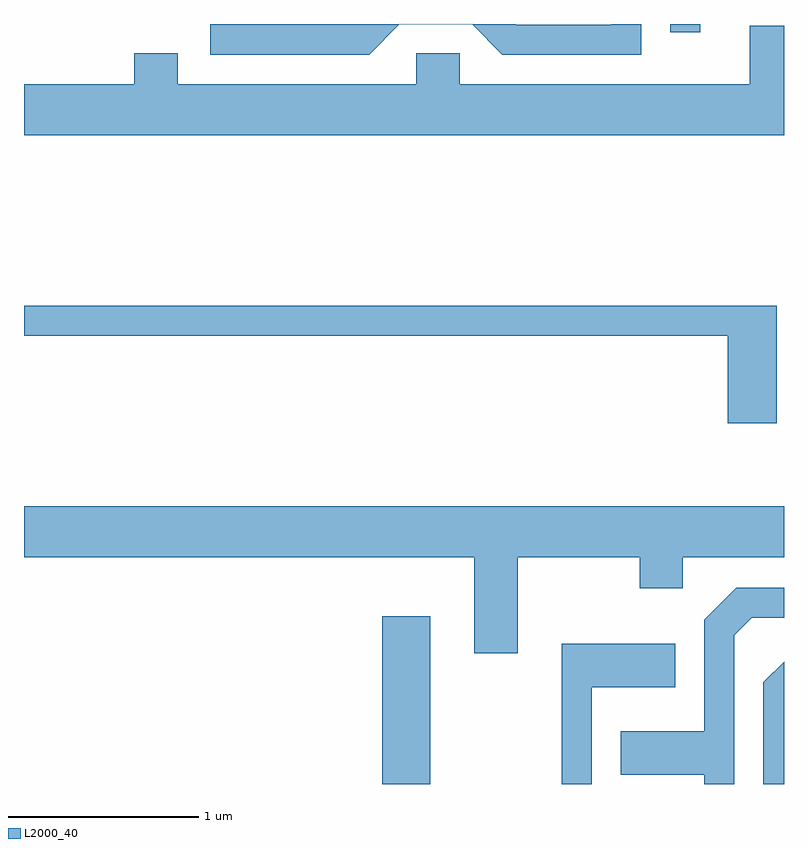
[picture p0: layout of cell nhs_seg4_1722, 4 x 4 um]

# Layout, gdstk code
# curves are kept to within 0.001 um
import gdstk
lib = gdstk.Library(unit=1e-6, precision=1e-09)
def R(c, l, rs):  # rectangles x0, y0, x1, y1
    for r in rs: c.add(gdstk.rectangle(r[:2], r[2:], *l))
def P(c, l, *ps):  # polygons
    for p in ps: c.add(gdstk.Polygon(p, *l))
L2000_40 = (2000, 40)

nhs_seg4_1722 = lib.new_cell('nhs_seg4_1722')
R(nhs_seg4_1722, L2000_40, [(237.496,1297.982,237.749,1298.864), (239.011,1301.938,239.169,1301.982)])
P(nhs_seg4_1722, L2000_40, [(237.587,1301.981),(237.969,1301.981),(238.129,1301.821),(238.859,1301.821),(238.859,1301.982),(238.701,1301.982),(238.701,1301.979),(238.202,1301.979),(238.199,1301.982),(235.663,1301.982),(236.591,1301.981),(236.591,1301.821),(237.427,1301.821)],
  [(239.611,1301.974),(239.431,1301.974),(239.431,1301.664),(237.904,1301.664),(237.904,1301.829),(237.676,1301.829),(237.676,1301.664),(236.419,1301.664),(236.419,1301.829),(236.191,1301.829),(236.191,1301.664),(235.611,1301.664),(235.611,1301.396),(239.611,1301.396)],
  [(239.574,1300.499),(235.611,1300.499),(235.611,1300.341),(239.316,1300.341),(239.316,1299.881),(239.574,1299.881)],
  [(238.209,1299.176),(238.851,1299.176),(238.851,1299.011),(239.079,1299.011),(239.079,1299.176),(239.611,1299.176),(239.611,1299.444),(235.611,1299.444),(235.611,1299.176),(237.981,1299.176),(237.981,1298.671),(238.209,1298.671)],
  [(239.349,1298.764),(239.442,1298.856),(239.611,1298.856),(239.611,1299.014),(239.359,1299.014),(239.191,1298.847),(239.191,1298.259),(238.751,1298.259),(238.751,1298.031),(239.191,1298.031),(239.191,1297.982),(239.349,1297.982)],
  [(238.599,1298.491),(239.039,1298.491),(239.039,1298.719),(238.441,1298.719),(238.441,1297.982),(238.599,1297.982)],
  [(239.611,1298.626),(239.501,1298.517),(239.501,1297.982),(239.611,1297.982)])

lib.write_gds('nhs_seg4_1722.gds')
